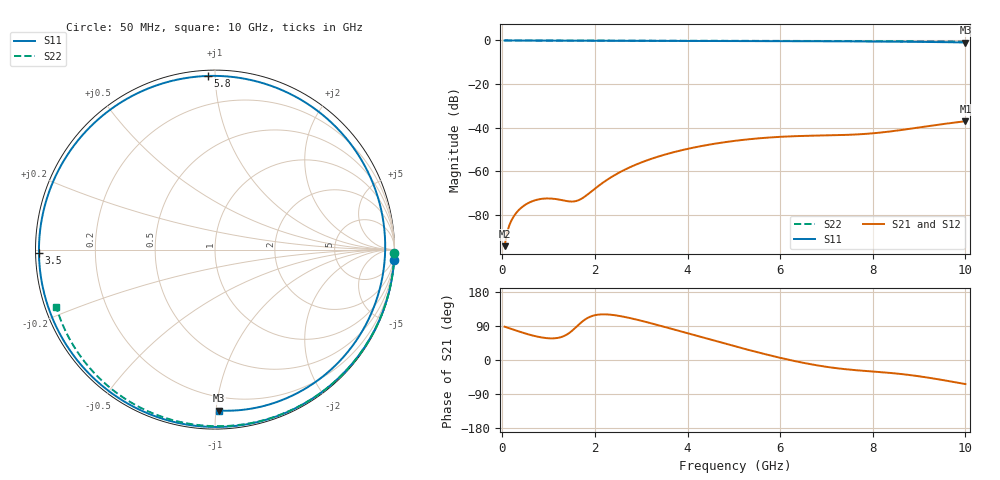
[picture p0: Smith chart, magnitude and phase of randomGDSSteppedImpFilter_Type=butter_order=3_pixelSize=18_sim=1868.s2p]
! freq	dB(S11)	phase(S11)	dB(S12)	phase(S12)
!  dB(S21)	phase(S21)	dB(S22)	phase(S22)
!S-par simulation data
#  GHz  S  DB  R 50
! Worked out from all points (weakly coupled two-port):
!   200 points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, 50 MHz to 10 GHz, reference 50 ohm
!   highest |S21| = -36.99 dB at 10 GHz (marker M1); lowest = -94.2 dB at 50 MHz (marker M2)
!   lowest |S11| = -0.9 dB at 10 GHz (marker M3), VSWR 18.44, Z = 5.55 - j51 ohm
!   |S11| at or under -10 dB: nowhere
!   |S22| runs from -0.5 to 0.0 dB; largest |S21 - S12| = 0
!   S11 on the Smith chart (normalised r, x): 50 MHz: 0, -34; 3.5 GHz: 0.01, -0.01; 5.8 GHz: 0.03, +0.96; 10 GHz: 0.11, -1.02
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0.05  -0.00 -3.4  -94.22 87.9  -94.22 87.9  -0.00 -0.9
0.25  -0.02 -16.6  -80.48 79.7  -80.48 79.7  -0.01 -4.6
0.55  -0.05 -36.0  -74.59 68.1  -74.59 68.1  -0.01 -10.1
0.9  -0.07 -57.7  -72.43 58.6  -72.43 58.6  -0.02 -16.5
1.2  -0.09 -75.2  -72.78 58.4  -72.78 58.4  -0.03 -22.0
1.5  -0.10 -91.6  -73.78 76.5  -73.78 76.5  -0.03 -27.4
1.75  -0.11 -104.4  -71.97 103.6  -71.97 103.6  -0.04 -31.8
2.55  -0.14 -141.1  -60.22 115.8  -60.22 115.8  -0.06 -45.9
2.95  -0.15 -157.5  -56.31 105.1  -56.31 105.1  -0.07 -52.8
3.4  -0.16 -175.2  -52.97 90.8  -52.97 90.8  -0.08 -60.4
3.5  -0.17 -179.0  -52.34 87.5  -52.34 87.5  -0.08 -62.0
4.25  -0.20 152.8  -48.56 62.1  -48.56 62.1  -0.10 -74.3
5.05  -0.24 122.3  -45.90 35.3  -45.90 35.3  -0.13 -87.0
5.8  -0.28 92.3  -44.40 11.6  -44.40 11.6  -0.17 -98.5
6.25  -0.31 73.4  -43.89 -1.1  -43.89 -1.1  -0.19 -105.3
6.7  -0.34 53.8  -43.61 -12.0  -43.61 -12.0  -0.22 -111.9
7.15  -0.38 33.8  -43.42 -20.5  -43.42 -20.5  -0.25 -118.5
7.55  -0.42 15.8  -43.15 -26.0  -43.15 -26.0  -0.28 -124.3
7.95  -0.47 -2.3  -42.62 -30.0  -42.62 -30.0  -0.31 -130.1
8.35  -0.53 -20.0  -41.75 -33.8  -41.75 -33.8  -0.35 -135.9
9.2  -0.69 -56.3  -39.24 -46.6  -39.24 -46.6  -0.44 -148.3
10  -0.94 -88.6  -36.99 -63.5  -36.99 -63.5  -0.53 -160.2
